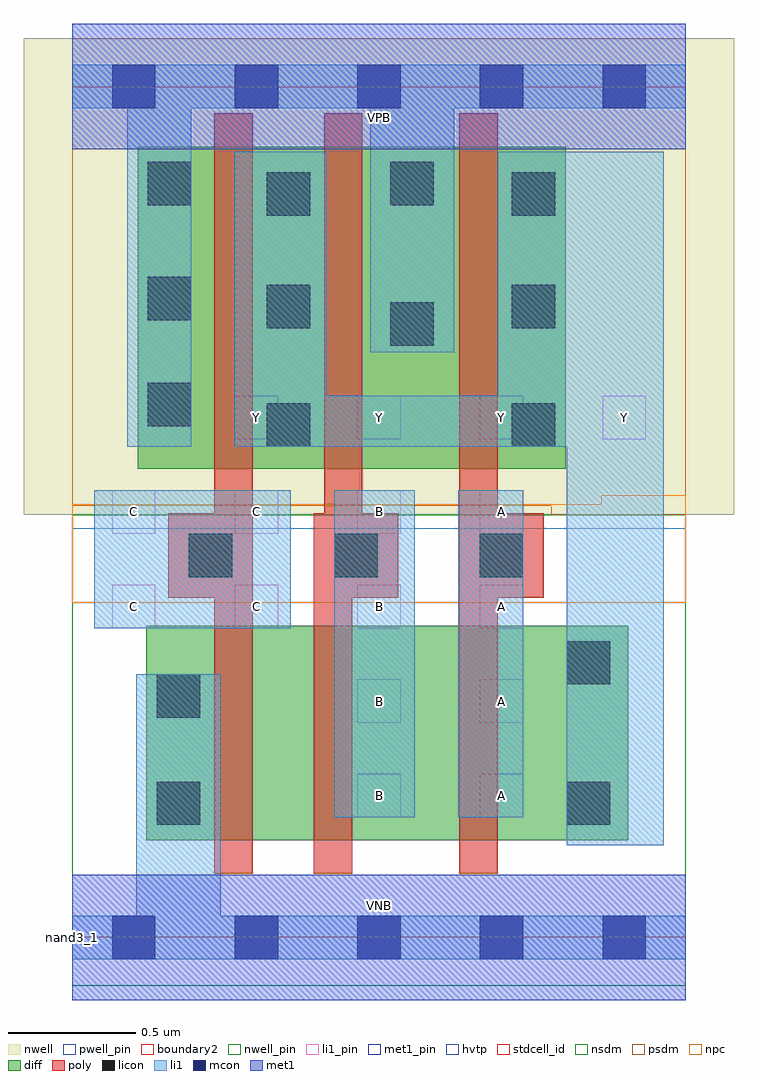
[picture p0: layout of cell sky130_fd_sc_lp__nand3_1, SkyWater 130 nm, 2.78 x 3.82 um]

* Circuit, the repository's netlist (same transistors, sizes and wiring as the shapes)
* Copyright 2020 The SkyWater PDK Authors
*
* Licensed under the Apache License, Version 2.0 (the "License");
* you may not use this file except in compliance with the License.
* You may obtain a copy of the License at
*
*     https://www.apache.org/licenses/LICENSE-2.0
*
* Unless required by applicable law or agreed to in writing, software
* distributed under the License is distributed on an "AS IS" BASIS,
* WITHOUT WARRANTIES OR CONDITIONS OF ANY KIND, either express or implied.
* See the License for the specific language governing permissions and
* limitations under the License.
*
* SPDX-License-Identifier: Apache-2.0

.SUBCKT sky130_fd_sc_lp__nand3_1 A B C VGND VNB VPB VPWR Y
*.PININFO A:I B:I C:I VGND:I VNB:I VPB:I VPWR:I Y:O
MMP0 Y A VPWR VPB sky130_fd_pr__pfet_01v8_hvt m=1 w=1.26U l=0.15U mult=1 sa=0.265
+ sb=0.265 sd=0.28 area=0.063 perim=1.14
MMP1 Y B VPWR VPB sky130_fd_pr__pfet_01v8_hvt m=1 w=1.26U l=0.15U mult=1 sa=0.265
+ sb=0.265 sd=0.28 area=0.063 perim=1.14
MMP2 Y C VPWR VPB sky130_fd_pr__pfet_01v8_hvt m=1 w=1.26U l=0.15U mult=1 sa=0.265
+ sb=0.265 sd=0.28 area=0.063 perim=1.14
MMN0 Y A sndA VNB sky130_fd_pr__nfet_01v8 m=1 w=0.84U l=0.15U mult=1 sa=0.265 sb=0.265
+ sd=0.28 area=0.063 perim=1.14
MMN1 sndA B sndB VNB sky130_fd_pr__nfet_01v8 m=1 w=0.84U l=0.15U mult=1 sa=0.265
+ sb=0.265 sd=0.28 area=0.063 perim=1.14
MMN2 sndB C VGND VNB sky130_fd_pr__nfet_01v8 m=1 w=0.84U l=0.15U mult=1 sa=0.265
+ sb=0.265 sd=0.28 area=0.063 perim=1.14
.ENDS sky130_fd_sc_lp__nand3_1

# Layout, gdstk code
import gdstk
lib = gdstk.Library(unit=1e-6, precision=1e-09)
def R(c, l, rs):  # rectangles x0, y0, x1, y1
    for r in rs: c.add(gdstk.rectangle(r[:2], r[2:], *l))
def A(c, l, x, y, w, h, nx, ny, dx, dy):  # array of equal rectangles
    R(c, l, [(x+i*dx, y+j*dy, x+i*dx+w, y+j*dy+h) for i in range(nx) for j in range(ny)])
def P(c, l, *ps):  # polygons
    for p in ps: c.add(gdstk.Polygon(p, *l))
nwell_pin = (64, 16)
nwell = (64, 20)
diff = (65, 20)
poly = (66, 20)
licon = (66, 44)
li1_pin = (67, 16)
li1 = (67, 20)
mcon = (67, 44)
met1_pin = (68, 16)
met1 = (68, 20)
hvtp = (78, 44)
stdcell_id = (81, 4)
nsdm = (93, 44)
psdm = (94, 20)
npc = (95, 20)
pwell_pin = (122, 16)
boundary2 = (236, 0)

sky130_fd_sc_lp__nand3_1 = lib.new_cell('sky130_fd_sc_lp__nand3_1')
R(sky130_fd_sc_lp__nand3_1, nwell_pin, [(0,3.085,2.4,3.33)])
R(sky130_fd_sc_lp__nand3_1, nwell, [(-0.19,1.655,2.59,3.52)])
R(sky130_fd_sc_lp__nand3_1, diff, [(0.29,0.38,2.175,1.22), (0.255,1.835,1.93,3.095)])
P(sky130_fd_sc_lp__nand3_1, poly, [(0.705,3.225),(0.555,3.225),(0.555,1.66),(0.375,1.66),(0.375,1.33),(0.555,1.33),(0.555,0.25),(0.705,0.25)],
  [(1.275,1.66),(1.135,1.66),(1.135,3.225),(0.985,3.225),(0.985,1.66),(0.945,1.66),(0.945,0.25),(1.095,0.25),(1.095,1.33),(1.275,1.33)],
  [(1.845,1.66),(1.665,1.66),(1.665,3.225),(1.515,3.225),(1.515,0.25),(1.665,0.25),(1.665,1.33),(1.845,1.33)])
A(sky130_fd_sc_lp__nand3_1, licon, 0.455, 1.41, 0.17, 0.17, 3, 1, 0.57, 0)
R(sky130_fd_sc_lp__nand3_1, licon, [(0.33,0.44,0.5,0.61), (1.935,0.44,2.105,0.61), (0.33,0.86,0.5,1.03), (1.935,0.99,2.105,1.16), (0.76,1.92,0.93,2.09), (1.72,1.92,1.89,2.09), (0.295,2,0.465,2.17), (1.245,2.315,1.415,2.485), (0.76,2.385,0.93,2.555), (1.72,2.385,1.89,2.555), (0.295,2.415,0.465,2.585), (0.76,2.825,0.93,2.995), (1.72,2.825,1.89,2.995), (0.295,2.865,0.465,3.035), (1.245,2.865,1.415,3.035)])
A(sky130_fd_sc_lp__nand3_1, li1_pin, 0.155, 1.21, 0.17, 0.17, 4, 2, 0.48, 0.37)
A(sky130_fd_sc_lp__nand3_1, li1_pin, 0.635, 1.95, 0.17, 0.17, 4, 1, 0.48, 0)
R(sky130_fd_sc_lp__nand3_1, li1_pin, [(1.115,0.47,1.285,0.64), (1.595,0.47,1.765,0.64), (1.115,0.84,1.285,1.01), (1.595,0.84,1.765,1.01)])
R(sky130_fd_sc_lp__nand3_1, li1, [(1.025,0.47,1.34,1.75), (1.51,0.47,1.765,1.75), (0.085,1.21,0.855,1.75)])
P(sky130_fd_sc_lp__nand3_1, li1, [(0.215,1.92),(0.215,3.245),(0,3.245),(0,3.415),(2.4,3.415),(2.4,3.245),(1.495,3.245),(1.495,2.29),(1.165,2.29),(1.165,3.245),(0.465,3.245),(0.465,1.92)],
  [(0.25,0.085),(0.25,1.03),(0.58,1.03),(0.58,0.085),(2.4,0.085),(2.4,-0.085),(0,-0.085),(0,0.085)],
  [(0.635,1.92),(0.635,3.075),(0.995,3.075),(0.995,2.12),(1.665,2.12),(1.665,3.075),(2.315,3.075),(2.315,0.36),(1.935,0.36),(1.935,1.92)])
A(sky130_fd_sc_lp__nand3_1, mcon, 0.155, -0.085, 0.17, 0.17, 5, 2, 0.48, 3.33)
R(sky130_fd_sc_lp__nand3_1, met1_pin, [(0,0,2.4,0.245), (0,3.085,2.4,3.33)])
R(sky130_fd_sc_lp__nand3_1, met1, [(0,-0.245,2.4,0.245), (0,3.085,2.4,3.575)])
R(sky130_fd_sc_lp__nand3_1, hvtp, [(0,1.6,2.4,3.33)])
R(sky130_fd_sc_lp__nand3_1, stdcell_id, [(0,0,2.4,3.33)])
R(sky130_fd_sc_lp__nand3_1, nsdm, [(0,-0.19,2.4,1.655)])
P(sky130_fd_sc_lp__nand3_1, psdm, [(2.4,3.52),(0,3.52),(0,1.69),(1.875,1.69),(1.875,1.655),(2.4,1.655)])
P(sky130_fd_sc_lp__nand3_1, npc, [(2.4,1.73),(2.07,1.73),(2.07,1.695),(0,1.695),(0,1.31),(2.4,1.31)])
R(sky130_fd_sc_lp__nand3_1, pwell_pin, [(0,0,2.4,0.245)])
R(sky130_fd_sc_lp__nand3_1, boundary2, [(0,0,2.4,3.33)])
sky130_fd_sc_lp__nand3_1.add(gdstk.Label('VNB', (1.2,0.123), layer=64, texttype=59))
sky130_fd_sc_lp__nand3_1.add(gdstk.Label('VPB', (1.2,3.208), layer=64, texttype=5))
sky130_fd_sc_lp__nand3_1.add(gdstk.Label('nand3_1', (0,0), layer=83, texttype=44))
sky130_fd_sc_lp__nand3_1.add(gdstk.Label('VPWR', (1.2,3.208), layer=68, texttype=5))
sky130_fd_sc_lp__nand3_1.add(gdstk.Label('VGND', (1.2,0.123), layer=68, texttype=5))
sky130_fd_sc_lp__nand3_1.add(gdstk.Label('A', (1.68,0.555), layer=67, texttype=5))
sky130_fd_sc_lp__nand3_1.add(gdstk.Label('A', (1.68,0.925), layer=67, texttype=5))
sky130_fd_sc_lp__nand3_1.add(gdstk.Label('A', (1.68,1.295), layer=67, texttype=5))
sky130_fd_sc_lp__nand3_1.add(gdstk.Label('A', (1.68,1.665), layer=67, texttype=5))
sky130_fd_sc_lp__nand3_1.add(gdstk.Label('B', (1.2,0.555), layer=67, texttype=5))
sky130_fd_sc_lp__nand3_1.add(gdstk.Label('B', (1.2,0.925), layer=67, texttype=5))
sky130_fd_sc_lp__nand3_1.add(gdstk.Label('B', (1.2,1.295), layer=67, texttype=5))
sky130_fd_sc_lp__nand3_1.add(gdstk.Label('B', (1.2,1.665), layer=67, texttype=5))
sky130_fd_sc_lp__nand3_1.add(gdstk.Label('Y', (0.72,2.035), layer=67, texttype=5))
sky130_fd_sc_lp__nand3_1.add(gdstk.Label('Y', (1.2,2.035), layer=67, texttype=5))
sky130_fd_sc_lp__nand3_1.add(gdstk.Label('Y', (1.68,2.035), layer=67, texttype=5))
sky130_fd_sc_lp__nand3_1.add(gdstk.Label('Y', (2.16,2.035), layer=67, texttype=5))
sky130_fd_sc_lp__nand3_1.add(gdstk.Label('C', (0.24,1.295), layer=67, texttype=5))
sky130_fd_sc_lp__nand3_1.add(gdstk.Label('C', (0.24,1.665), layer=67, texttype=5))
sky130_fd_sc_lp__nand3_1.add(gdstk.Label('C', (0.72,1.295), layer=67, texttype=5))
sky130_fd_sc_lp__nand3_1.add(gdstk.Label('C', (0.72,1.665), layer=67, texttype=5))

lib.write_gds('sky130_fd_sc_lp__nand3_1.gds')
